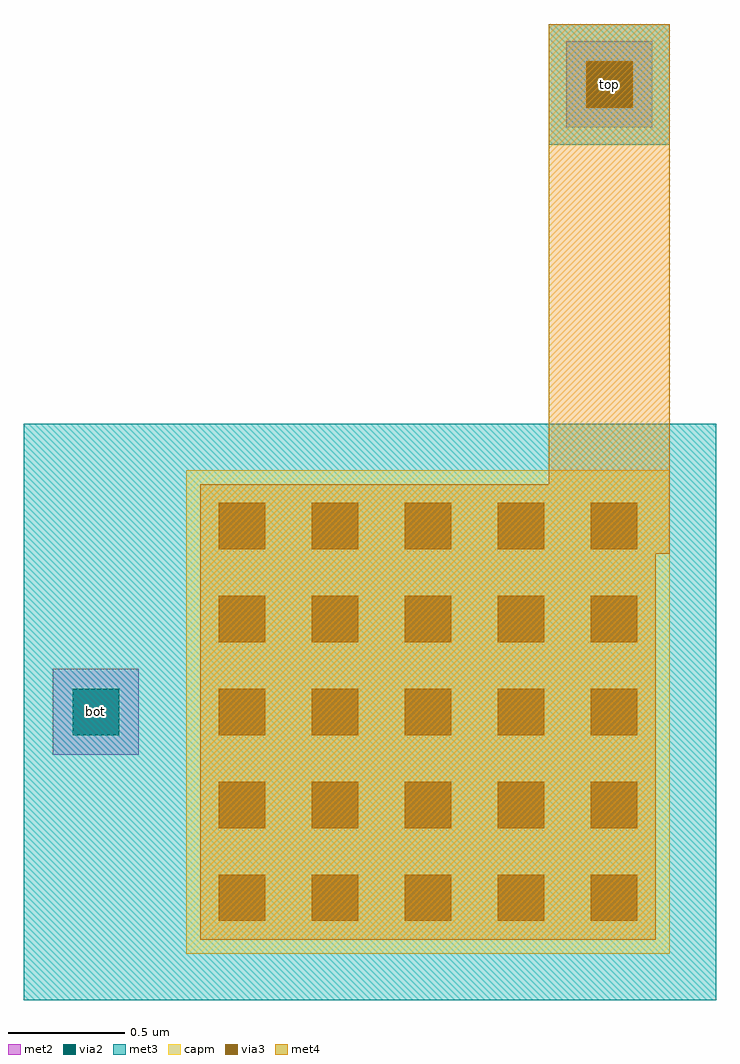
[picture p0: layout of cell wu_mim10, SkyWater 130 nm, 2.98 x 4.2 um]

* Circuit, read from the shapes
.subckt wu_mim10 bot top
XC1 top bot sky130_fd_pr__cap_mim_m3_1 w=2.08 l=2.08
.ends

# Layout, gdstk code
import gdstk
lib = gdstk.Library(unit=1e-6, precision=1e-09)
def R(c, l, rs):  # rectangles x0, y0, x1, y1
    for r in rs: c.add(gdstk.rectangle(r[:2], r[2:], *l))
def A(c, l, x, y, w, h, nx, ny, dx, dy):  # array of equal rectangles
    R(c, l, [(x+i*dx, y+j*dy, x+i*dx+w, y+j*dy+h) for i in range(nx) for j in range(ny)])
met2 = (69, 20)
via2 = (69, 44)
met3 = (70, 20)
via3 = (70, 44)
met4 = (71, 20)
capm = (89, 44)

wu_mim10 = lib.new_cell('wu_mim10')
R(wu_mim10, met2, [(-0.375,1.055,-0.005,1.425), (1.835,3.755,2.205,4.125)])
R(wu_mim10, via2, [(-0.29,1.14,-0.09,1.34), (1.92,3.84,2.12,4.04)])
R(wu_mim10, met3, [(-0.5,0,2.48,2.48), (1.76,3.68,2.28,4.2)])
A(wu_mim10, via3, 0.34, 0.34, 0.2, 0.2, 5, 5, 0.4, 0.4)
R(wu_mim10, via3, [(1.92,3.84,2.12,4.04)])
R(wu_mim10, met4, [(0.26,0.26,2.22,2.22), (1.76,1.92,2.28,4.2)])
R(wu_mim10, capm, [(0.2,0.2,2.28,2.28)])
wu_mim10.add(gdstk.Label('top', (2.02,3.94), layer=69, texttype=5))
wu_mim10.add(gdstk.Label('bot', (-0.19,1.24), layer=69, texttype=5))

lib.write_gds('wu_mim10.gds')
